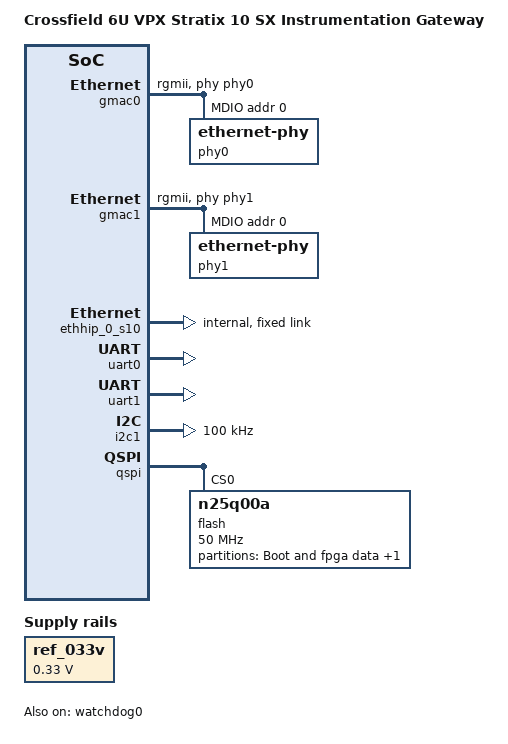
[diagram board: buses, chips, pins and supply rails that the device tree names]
/*
 * Copyright Altera Corporation (C) 2015. All rights reserved.
 *
 * This program is free software; you can redistribute it and/or modify
 * it under the terms and conditions of the GNU General Public License,
 * version 2, as published by the Free Software Foundation.
 *
 * This program is distributed in the hope it will be useful, but WITHOUT
 * ANY WARRANTY; without even the implied warranty of MERCHANTABILITY or
 * FITNESS FOR A PARTICULAR PURPOSE.  See the GNU General Public License for
 * more details.
 *
 * You should have received a copy of the GNU General Public License along with
 * this program.  If not, see <http://www.gnu.org/licenses/>.
 */

#include "socfpga_stratix10_100ghip.dtsi"

/ {
	model = "Crossfield 6U VPX Stratix 10 SX Instrumentation Gateway";

	aliases {
		serial0 = &uart0;
		ethernet0 = &gmac0;
		ethernet1 = &gmac1;
		ethernet2 = &ethhip_0_s10;
	};

	chosen {
		stdout-path = "serial0:115200n8";
	};

	memory {
		device_type = "memory";
		/* We expect the bootloader to fill in the reg */
		reg = <0 0 0 0>;
	};

	ref_033v: 033-v-ref {
		compatible = "regulator-fixed";
		regulator-name = "0.33V";
		regulator-min-microvolt = <330000>;
		regulator-max-microvolt = <330000>;
	};

	soc {
		clocks {
			osc1 {
				clock-frequency = <100000000>;
			};
		};
	};
};

&gmac0 {
	status = "okay";
	phy-mode = "rgmii";
	phy-handle = <&phy0>;

	max-frame-size = <9000>;

	mdio0 {
		#address-cells = <1>;
		#size-cells = <0>;
		compatible = "snps,dwmac-mdio";
		phy0: ethernet-phy@0 {
			reg = <0>;
		};
	};
};

&gmac1 {
        status = "okay";
        phy-mode = "rgmii";
        phy-handle = <&phy1>;

        max-frame-size = <9000>;

        mdio1 {
                #address-cells = <1>;
                #size-cells = <0>;
                compatible = "snps,dwmac-mdio";
                phy1: ethernet-phy@0 {
                        reg = <0>;
                };
        };
};

&ethhip_0_s10 {
	status = "okay";
	phy-mode = "internal";

	fixed-link {
		speed = <100000>;
		full-duplex;
	};
};

/*
&mmc {
	status = "okay";
	cap-sd-highspeed;
	cap-mmc-highspeed;
	broken-cd;
	bus-width = <8>;
};
*/
&uart0 {
	status = "okay";
};

&uart1 {
	status = "okay";
};

&watchdog0 {
	status = "okay";
};

&i2c1 {
	status = "okay";
	clock-frequency = <100000>;
	i2c-sda-falling-time-ns = <890>;  /* hcnt */
	i2c-sdl-falling-time-ns = <890>;  /* lcnt */
};

&qspi {
	status = "okay";
	flash@0 {
		#address-cells = <1>;
		#size-cells = <1>;
		compatible = "n25q00a";
		reg = <0>;
		spi-max-frequency = <50000000>;

		m25p,fast-read;
		cdns,page-size = <256>;
		cdns,block-size = <16>;
		cdns,read-delay = <1>;
		cdns,tshsl-ns = <50>;
		cdns,tsd2d-ns = <50>;
		cdns,tchsh-ns = <4>;
		cdns,tslch-ns = <4>;

		partitions {
			compatible = "fixed-partitions";
			#address-cells = <1>;
			#size-cells = <1>;

			qspi_boot: partition@0 {
				label = "Boot and fpga data";
				reg = <0x0 0x024B0000>;
			};

			qspi_rootfs: partition@024B0000 {
				label = "Root Filesystem - JFFS2";
				reg = <0x024B0000 0x05B50000>;
			};
		};
	};
};
